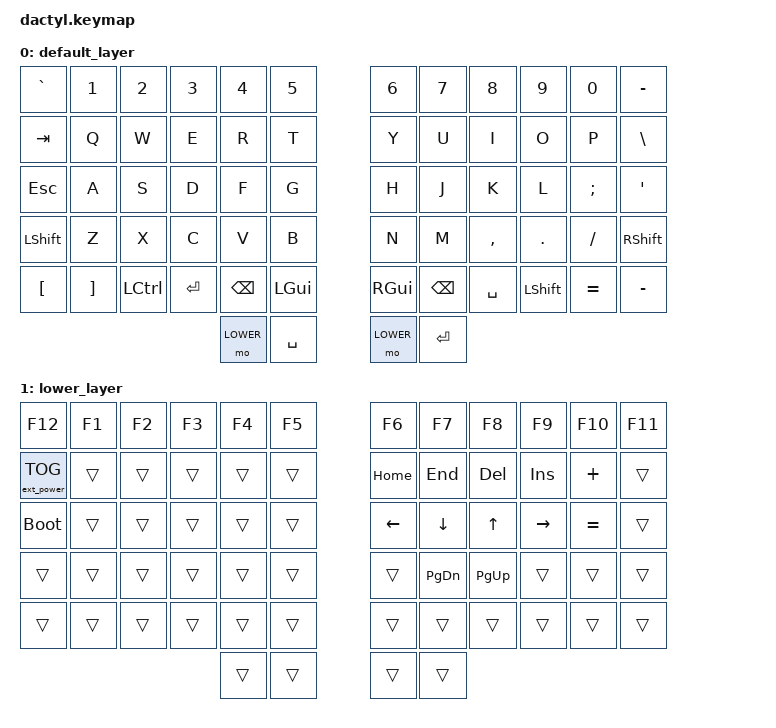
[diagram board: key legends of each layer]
#include <behaviors.dtsi>
#include <dt-bindings/zmk/keys.h>
#include <dt-bindings/zmk/bt.h>
#include <dt-bindings/zmk/outputs.h>
#include <dt-bindings/zmk/ext_power.h>

#define DEFAULT 0
#define LOWER   1
#define RAISE   2

/ {
    keymap {
        compatible = "zmk,keymap";

        default_layer {
            bindings = <
                &kp GRAVE         &kp N1     &kp N2    &kp N3     &kp N4    &kp N5           &kp N6    &kp N7        &kp N8      &kp N9     &kp N0     &kp MINUS
                &kp TAB           &kp Q      &kp W     &kp E      &kp R     &kp T            &kp Y     &kp U         &kp I       &kp O      &kp P      &kp BSLH
                &kp ESC           &kp A      &kp S     &kp D      &kp F     &kp G            &kp H     &kp J         &kp K       &kp L      &kp SEMI   &kp SQT
                &kp LSHFT         &kp Z      &kp X     &kp C      &kp V     &kp B            &kp N     &kp M         &kp COMMA   &kp DOT    &kp FSLH   &kp RSHFT
                &kp LBKT          &kp RBKT   &kp LCTRL &kp RETURN &kp BSPC  &kp LGUI         &kp RGUI  &kp BSPC      &kp SPACE   &kp LSHIFT &kp EQUAL  &kp MINUS
                                                                 &mo LOWER  &kp SPACE        &mo LOWER &kp RETURN
            >;
        };
        lower_layer {
            bindings = <
                &kp F12           &kp F1     &kp F2    &kp F3    &kp F4     &kp F5           &kp F6    &kp F7        &kp F8      &kp F9      &kp F10   &kp F11
                &ext_power EP_TOG &trans     &trans    &trans    &trans     &trans           &kp HOME  &kp END       &kp DEL     &kp INS     &kp PLUS  &trans
                &bootloader       &trans     &trans    &trans    &trans     &trans           &kp LEFT  &kp DOWN      &kp UP      &kp RIGHT   &kp EQUAL &trans
                &trans            &trans     &trans    &trans    &trans     &trans           &trans    &kp PAGE_DOWN &kp PAGE_UP &trans      &trans    &trans
                &trans            &trans     &trans    &trans    &trans     &trans           &trans    &trans        &trans      &trans      &trans    &trans
                                                                 &trans     &trans           &trans    &trans
            >;
        };
    };
};
